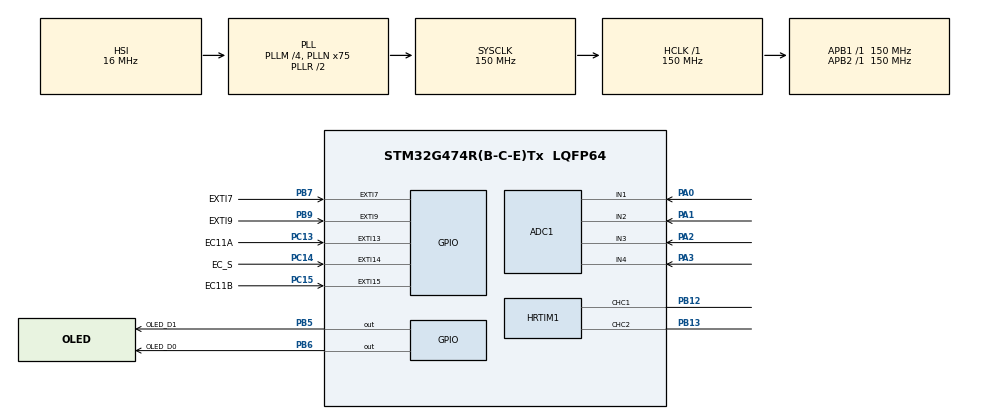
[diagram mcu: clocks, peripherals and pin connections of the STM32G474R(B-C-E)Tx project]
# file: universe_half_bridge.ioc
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ADC1.Channel-0\#ChannelRegularConversion=ADC_CHANNEL_1
ADC1.Channel-1\#ChannelRegularConversion=ADC_CHANNEL_2
ADC1.Channel-2\#ChannelRegularConversion=ADC_CHANNEL_3
ADC1.Channel-3\#ChannelRegularConversion=ADC_CHANNEL_4
ADC1.ContinuousConvMode=ENABLE
ADC1.DMAContinuousRequests=ENABLE
ADC1.NbrOfConversion=4
ADC1.NbrOfConversionFlag=1
ADC1.OffsetNumber-0\#ChannelRegularConversion=ADC_OFFSET_NONE
ADC1.OffsetNumber-1\#ChannelRegularConversion=ADC_OFFSET_NONE
ADC1.OffsetNumber-2\#ChannelRegularConversion=ADC_OFFSET_NONE
ADC1.OffsetNumber-3\#ChannelRegularConversion=ADC_OFFSET_NONE
ADC1.Rank-0\#ChannelRegularConversion=1
ADC1.Rank-1\#ChannelRegularConversion=2
ADC1.Rank-2\#ChannelRegularConversion=3
ADC1.Rank-3\#ChannelRegularConversion=4
ADC1.SamplingTime-0\#ChannelRegularConversion=ADC_SAMPLETIME_12CYCLES_5
ADC1.SamplingTime-1\#ChannelRegularConversion=ADC_SAMPLETIME_12CYCLES_5
ADC1.SamplingTime-2\#ChannelRegularConversion=ADC_SAMPLETIME_12CYCLES_5
ADC1.SamplingTime-3\#ChannelRegularConversion=ADC_SAMPLETIME_12CYCLES_5
ADC1.master=1
Dma.ADC1.0.Direction=DMA_PERIPH_TO_MEMORY
Dma.ADC1.0.EventEnable=DISABLE
Dma.ADC1.0.Instance=DMA1_Channel1
Dma.ADC1.0.MemDataAlignment=DMA_MDATAALIGN_HALFWORD
Dma.ADC1.0.MemInc=DMA_MINC_ENABLE
Dma.ADC1.0.Mode=DMA_CIRCULAR
Dma.ADC1.0.PeriphDataAlignment=DMA_PDATAALIGN_HALFWORD
Dma.ADC1.0.PeriphInc=DMA_PINC_DISABLE
Dma.ADC1.0.Polarity=HAL_DMAMUX_REQ_GEN_RISING
Dma.ADC1.0.Priority=DMA_PRIORITY_LOW
Dma.ADC1.0.RequestNumber=1
Dma.ADC1.0.SignalID=NONE
Dma.ADC1.0.SyncEnable=DISABLE
Dma.ADC1.0.SyncPolarity=HAL_DMAMUX_SYNC_NO_EVENT
Dma.ADC1.0.SyncRequestNumber=1
Dma.ADC1.0.SyncSignalID=NONE
Dma.Request0=ADC1
HRTIM1.CompareUnit1-Output_TC1TC2=HRTIM_COMPAREUNIT_1
HRTIM1.CompareValue1-Output_TC1TC2=0
HRTIM1.DeadTimeInsertion-Output_TC1TC2=HRTIM_TIMDEADTIMEINSERTION_ENABLED
HRTIM1.Deadtimeconfig-Output_TC1TC2=HRTIM_TIMERINDEX_TIMER_C
HRTIM1.FallingLock-Output_TC1TC2=HRTIM_TIMDEADTIME_FALLINGLOCK_READONLY
HRTIM1.FallingSignLock-Output_TC1TC2=HRTIM_TIMDEADTIME_FALLINGSIGNLOCK_READONLY
HRTIM1.FallingValue-Output_TC1TC2=142
HRTIM1.GreaterCMP1_TC=HRTIM_TIMERGTCMP1_EQUAL
HRTIM1.NumberResetSource1-Output_TC1TC2=1
HRTIM1.NumberSetSource1-Output_TC1TC2=1
HRTIM1.NumberSetSource2_TC=0
HRTIM1.Periode_TC=60000
HRTIM1.Polarity1-Output_TC1TC2=HRTIM_OUTPUTPOLARITY_HIGH
HRTIM1.Polarity2-Output_TC1TC2=HRTIM_OUTPUTPOLARITY_HIGH
HRTIM1.PreloadEnable-Output_TC1TC2=HRTIM_PRELOAD_ENABLED
HRTIM1.PrescalerRatio_TC=HRTIM_PRESCALERRATIO_MUL16
HRTIM1.RepetitionUpdate-Output_TC1TC2=HRTIM_UPDATEONREPETITION_ENABLED
HRTIM1.ResetOutput1_Source1-Output_TC1TC2=HRTIM_OUTPUTRESET_TIMCMP1
HRTIM1.RisingLock-Output_TC1TC2=HRTIM_TIMDEADTIME_RISINGLOCK_READONLY
HRTIM1.RisingSignLock-Output_TC1TC2=HRTIM_TIMDEADTIME_RISINGSIGNLOCK_READONLY
HRTIM1.RisingValue-Output_TC1TC2=142
HRTIM1.SetOutput1_Source1-Output_TC1TC2=HRTIM_OUTPUTSET_TIMPER
Mcu.Family=STM32G4
Mcu.Name=STM32G474R(B-C-E)Tx
Mcu.Package=LQFP64
NVIC.ADC1_2_IRQn=true\:6\:0\:true\:false\:true\:true\:true\:true
NVIC.DMA1_Channel1_IRQn=true\:5\:0\:true\:false\:true\:false\:true\:true
NVIC.EXTI15_10_IRQn=true\:7\:0\:true\:false\:true\:true\:true\:true
NVIC.EXTI9_5_IRQn=true\:0\:0\:false\:false\:true\:true\:true\:true
NVIC.HRTIM1_TIMC_IRQn=true\:0\:0\:false\:false\:true\:true\:true\:true
NVIC.PriorityGroup=NVIC_PRIORITYGROUP_4
PA0.Mode=IN1-Single-Ended
PA0.Signal=ADC1_IN1
PA1.Mode=IN2-Single-Ended
PA1.Signal=ADC1_IN2
PA13.Mode=Serial_Wire
PA13.Signal=SYS_JTMS-SWDIO
PA14.Mode=Serial_Wire
PA14.Signal=SYS_JTCK-SWCLK
PA2.Mode=IN3-Single-Ended
PA2.Signal=ADC1_IN3
PA3.Mode=IN4-Single-Ended
PA3.Signal=ADC1_IN4
PA8.Signal=HRTIM1_CHA1
PB12.Mode=Output_TC1TC2
PB12.Signal=HRTIM1_CHC1
PB13.Mode=Output_TC1TC2
PB13.Signal=HRTIM1_CHC2
PB5.GPIO_Label=OLED_D1
PB5.GPIO_Speed=GPIO_SPEED_FREQ_MEDIUM
PB5.Signal=GPIO_Output
PB6.GPIO_Label=OLED_D0
PB6.GPIO_Speed=GPIO_SPEED_FREQ_MEDIUM
PB6.Signal=GPIO_Output
PB7.GPIO_Label=EXTI7
PB7.GPIO_ModeDefaultEXTI=GPIO_MODE_IT_FALLING
PB7.GPIO_PuPd=GPIO_PULLUP
PB7.Signal=GPXTI7
PB9.GPIO_Label=EXTI9
PB9.GPIO_ModeDefaultEXTI=GPIO_MODE_IT_FALLING
PB9.GPIO_PuPd=GPIO_PULLUP
PB9.Signal=GPXTI9
PC13.GPIO_Label=EC11A
PC13.GPIO_ModeDefaultEXTI=GPIO_MODE_IT_FALLING
PC13.Signal=GPXTI13
PC14-OSC32_IN.GPIO_Label=EC_S
PC14-OSC32_IN.GPIO_ModeDefaultEXTI=GPIO_MODE_IT_FALLING
PC14-OSC32_IN.GPIO_PuPd=GPIO_PULLUP
PC14-OSC32_IN.Signal=GPXTI14
PC15-OSC32_OUT.GPIO_Label=EC11B
PC15-OSC32_OUT.GPIO_ModeDefaultEXTI=GPIO_MODE_IT_FALLING
PC15-OSC32_OUT.Signal=GPXTI15
PF0-OSC_IN.Mode=HSE-External-Oscillator
PF0-OSC_IN.Signal=RCC_OSC_IN
PF1-OSC_OUT.Mode=HSE-External-Oscillator
PF1-OSC_OUT.Signal=RCC_OSC_OUT
ProjectManager.HeapSize=0x200
ProjectManager.StackSize=0x400
ProjectManager.TargetToolchain=CMake
RCC.ADC12Freq_Value=150000000
RCC.ADC345Freq_Value=150000000
RCC.AHBFreq_Value=150000000
RCC.APB1Freq_Value=150000000
RCC.APB1TimFreq_Value=150000000
RCC.APB2Freq_Value=150000000
RCC.APB2TimFreq_Value=150000000
RCC.CortexFreq_Value=150000000
RCC.EXTERNAL_CLOCK_VALUE=12288000
RCC.HCLKFreq_Value=150000000
RCC.HSE_VALUE=8000000
RCC.HSI48_VALUE=48000000
RCC.HSI_VALUE=16000000
RCC.LSE_VALUE=32768
RCC.PLLM=RCC_PLLM_DIV4
RCC.PLLN=75
RCC.SYSCLKFreq_VALUE=150000000
RCC.SYSCLKSource=RCC_SYSCLKSOURCE_PLLCLK
RCC.USBFreq_Value=150000000
RCC.VCOOutputFreq_Value=300000000
VP_HRTIM1_VS_hrtimMasterTimerNoOutput.Mode=MasterTimer
VP_SYS_VS_DBSignals.Mode=DisableDeadBatterySignals
board=custom

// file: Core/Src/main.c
/* USER CODE BEGIN Header */
/**
  ******************************************************************************
  * @file           : main.c
  * @brief          : Main program body
  ******************************************************************************
  * @attention
  *
  * Copyright (c) 2026 STMicroelectronics.
  * All rights reserved.
  *
  * This software is licensed under terms that can be found in the LICENSE file
  * in the root directory of this software component.
  * If no LICENSE file comes with this software, it is provided AS-IS.
  *
  ******************************************************************************
  */
/* USER CODE END Header */
#include "main.h"
#include "adc.h"
#include "dma.h"
#include "hrtim.h"
#include "gpio.h"

/* USER CODE BEGIN Includes */
#include "arm_math.h"
#include "OLED.h"
#include "MY_OLED.h"
/* USER CODE END Includes */

/* USER CODE BEGIN PV */
#define inner_upper_limit                           59400.0f
#define inner_lower_limit                           600.0f
#define BUCK_CC_upper_limit                         18.0f
#define BUCK_CC_lower_limit                         12.8f
#define BUCK_CV_upper_limit                         2.1f
#define BUCK_CV_lower_limit                         0.0f
#define BOOST_CV_upper_limit                        1.2f
#define BOOST_CV_lower_limit                        (-1.0f)
#define software_step_size                          600.0f
#define software_start_digital_setpoint             30000.0f
#define phy_calc_conv_voltage                       1.0/16.0f
#define phy_calc_conv_current                       1.0/16.0f

enum {
  BOOST_CV=0,
  BUCK_CC=1,
  BUCK_CV=2,
  IDLE=3,
}control_mode=BUCK_CV;

enum EC_DeBug now_EC_DeBug=_phy_setpoint;

float32_t phy_setpoint=15.0f;
float32_t calc_setpoint=0;
float32_t calc_measurement[4]={0.0f,0.0f,0.0f,0.0f};
float32_t phy_V_low,phy_I_low,phy_V_high,phy_I_high;
float32_t pid_memory[3];
float32_t debug_value[2]={0.0f,0.0f};

HRTIM_CompareCfgTypeDef ACMP1_T={0};

uint16_t ADC_value[64];//4个通道，16个数据取平均滤波
//const uint8_t buff_size=16;

float32_t outer_upper_limit=BUCK_CV_upper_limit;
float32_t outer_lower_limit=BUCK_CV_lower_limit;

//const float32_t conv_gain=1.0;
//const float32_t phy_calc_conv=conv_gain/(float32_t)buff_size;
float32_t phy_calc_conv=phy_calc_conv_voltage;
//const float32_t Ts=5e-5f;

arm_pid_instance_f32 pid_outer,pid_inner;

/* USER CODE END PV */

void SystemClock_Config(void);

int main(void)
{

  /* MCU Configuration--------------------------------------------------------*/

  /* Reset of all peripherals, Initializes the Flash interface and the Systick. */
  HAL_Init();

  /* Configure the system clock */
  SystemClock_Config();

  /* Initialize all configured peripherals */
  MX_GPIO_Init();
  MX_DMA_Init();
  MX_ADC1_Init();
  MX_HRTIM1_Init();
  /* USER CODE BEGIN 2 */
  //HAL_Delay(200);
  OLED_Init();

  HAL_ADCEx_Calibration_Start(&hadc1,ADC_SINGLE_ENDED);
  HAL_ADC_Start_DMA(&hadc1,(uint32_t*)ADC_value,sizeof(ADC_value)/sizeof(uint16_t));

  switch (control_mode) {
    case BUCK_CC:
      BUCK_CC_init(&pid_outer,&pid_inner);
      break;
    case BUCK_CV:
      BUCK_CV_init(&pid_outer,&pid_inner);
      break;
    case BOOST_CV:
      BOOST_CV_init(&pid_outer,&pid_inner);
      break;
    default:
      break;
  }

  HAL_HRTIM_WaveformCountStart(&hhrtim1, HRTIM_TIMERID_TIMER_C);//开启定时器

  software_start();//软件软启动

  //__HAL_HRTIM_TIMER_ENABLE_IT(&hhrtim1,HRTIM_TIMERINDEX_TIMER_C,HRTIM_TIM_IT_UPD);//开启更新中断,开启PID

  DeBug_interface_head();
  /* USER CODE END 2 */

  /* Infinite loop */
  /* USER CODE BEGIN WHILE */
  while (1)
  {
    switch (control_mode) {
      case BUCK_CC:
        phy_V_low=calc_measurement[2]*phy_calc_conv_voltage;
        phy_I_low=calc_measurement[3]*phy_calc_conv_current;
        BUCK_CC_interface_main();
        break;
      case BUCK_CV:
        phy_V_low=calc_measurement[2]*phy_calc_conv_voltage;
        phy_I_low=calc_measurement[3]*phy_calc_conv_current;
        BUCK_CV_interface_main();
        break;
      case BOOST_CV:
        phy_V_high=calc_measurement[0]*phy_calc_conv_voltage;
        phy_I_high=calc_measurement[1]*phy_calc_conv_current;
        BOOST_CV_interface_main();
        break;
      default:
        break;
    }
    DeBug_interface_main();

    /* USER CODE END WHILE */

  }
}

void SystemClock_Config(void)
{
  RCC_OscInitTypeDef RCC_OscInitStruct = {0};
  RCC_ClkInitTypeDef RCC_ClkInitStruct = {0};

  /** Configure the main internal regulator output voltage
  */
  HAL_PWREx_ControlVoltageScaling(PWR_REGULATOR_VOLTAGE_SCALE1);

  /** Initializes the RCC Oscillators according to the specified parameters
  * in the RCC_OscInitTypeDef structure.
  */
  RCC_OscInitStruct.OscillatorType = RCC_OSCILLATORTYPE_HSI;
  RCC_OscInitStruct.HSIState = RCC_HSI_ON;
  RCC_OscInitStruct.HSICalibrationValue = RCC_HSICALIBRATION_DEFAULT;
  RCC_OscInitStruct.PLL.PLLState = RCC_PLL_ON;
  RCC_OscInitStruct.PLL.PLLSource = RCC_PLLSOURCE_HSI;
  RCC_OscInitStruct.PLL.PLLM = RCC_PLLM_DIV4;
  RCC_OscInitStruct.PLL.PLLN = 75;
  RCC_OscInitStruct.PLL.PLLP = RCC_PLLP_DIV2;
  RCC_OscInitStruct.PLL.PLLQ = RCC_PLLQ_DIV2;
  RCC_OscInitStruct.PLL.PLLR = RCC_PLLR_DIV2;
  if (HAL_RCC_OscConfig(&RCC_OscInitStruct) != HAL_OK)
  {
    Error_Handler();
  }

  /** Initializes the CPU, AHB and APB buses clocks
  */
  RCC_ClkInitStruct.ClockType = RCC_CLOCKTYPE_HCLK|RCC_CLOCKTYPE_SYSCLK
                              |RCC_CLOCKTYPE_PCLK1|RCC_CLOCKTYPE_PCLK2;
  RCC_ClkInitStruct.SYSCLKSource = RCC_SYSCLKSOURCE_PLLCLK;
  RCC_ClkInitStruct.AHBCLKDivider = RCC_SYSCLK_DIV1;
  RCC_ClkInitStruct.APB1CLKDivider = RCC_HCLK_DIV1;
  RCC_ClkInitStruct.APB2CLKDivider = RCC_HCLK_DIV1;

  if (HAL_RCC_ClockConfig(&RCC_ClkInitStruct, FLASH_LATENCY_4) != HAL_OK)
  {
    Error_Handler();
  }
}

/* USER CODE BEGIN 4 */
void BUCK_CC_init(arm_pid_instance_f32 *pid_outer,arm_pid_instance_f32 *pid_inner){
  control_mode=BUCK_CC;
  phy_setpoint=0.0f;
  calc_setpoint=0;
  phy_calc_conv=phy_calc_conv_current;

  pid_outer->Kp=0.0f;
  pid_outer->Ki=0.0f;
  pid_outer->Kd=0.0f;
  pid_outer->state[0]=0.0f;
  pid_outer->state[1]=0.0f;
  pid_outer->state[2]=0.0f;
  //pid_outer->A0=pid_outer->Kp+pid_outer->Ki*Ts+pid_outer->Kd/Ts;
  //pid_outer->A1=-pid_outer->Kp-2.0f*pid_outer->Kd/Ts;
  //pid_outer->A2=pid_outer->Kd/Ts;

  pid_inner->Kp=0.0f;
  pid_inner->Ki=0.0f;
  pid_inner->Kd=0.0f;
  pid_inner->state[0]=0.0f;
  pid_inner->state[1]=0.0f;
  pid_inner->state[2]=0.0f;
  //pid_inner->A0=pid_inner->Kp+pid_inner->Ki*Ts+pid_inner->Kd/Ts;
  //pid_inner->A1=-pid_inner->Kp-2.0f*pid_inner->Kd/Ts;
  //pid_inner->A2=pid_inner->Kd/Ts;

  outer_upper_limit=BUCK_CC_upper_limit;
  outer_lower_limit=BUCK_CC_lower_limit;

  arm_pid_init_f32(pid_outer,0);
  arm_pid_init_f32(pid_inner,0);

  BUCK_CC_interface_head();
}

void BUCK_CV_init(arm_pid_instance_f32 *pid_outer,arm_pid_instance_f32 *pid_inner){
  control_mode=BUCK_CV;
  phy_setpoint=0.0f;
  calc_setpoint=0;
  phy_calc_conv=phy_calc_conv_voltage;

  pid_outer->Kp=0.0f;
  pid_outer->Ki=0.0f;
  pid_outer->Kd=0.0f;
  pid_outer->state[0]=0.0f;
  pid_outer->state[1]=0.0f;
  pid_outer->state[2]=0.0f;
  //pid_outer->A0=pid_outer->Kp+pid_outer->Ki*Ts+pid_outer->Kd/Ts;
  //pid_outer->A1=-pid_outer->Kp-2.0f*pid_outer->Kd/Ts;
  //pid_outer->A2=pid_outer->Kd/Ts;

  pid_inner->Kp=0.0f;
  pid_inner->Ki=0.0f;
  pid_inner->Kd=0.0f;
  pid_inner->state[0]=0.0f;
  pid_inner->state[1]=0.0f;
  pid_inner->state[2]=0.0f;
  //pid_inner->A0=pid_inner->Kp+pid_inner->Ki*Ts+pid_inner->Kd/Ts;
  //pid_inner->A1=-pid_inner->Kp-2.0f*pid_inner->Kd/Ts;
  //pid_inner->A2=pid_inner->Kd/Ts;

  outer_upper_limit=BUCK_CV_upper_limit;
  outer_lower_limit=BUCK_CV_lower_limit;

  arm_pid_init_f32(pid_outer,0);
  arm_pid_init_f32(pid_inner,0);

  BUCK_CV_interface_head();
}

void BOOST_CV_init(arm_pid_instance_f32 *pid_outer,arm_pid_instance_f32 *pid_inner){
  control_mode=BOOST_CV;
  phy_setpoint=0.0f;
  calc_setpoint=0;
  phy_calc_conv=phy_calc_conv_voltage;

  pid_outer->Kp=0.0f;
  pid_outer->Ki=0.0f;
  pid_outer->Kd=0.0f;
  pid_outer->state[0]=0.0f;
  pid_outer->state[1]=0.0f;
  pid_outer->state[2]=0.0f;
  //pid_outer->A0=pid_outer->Kp+pid_outer->Ki*Ts+pid_outer->Kd/Ts;
  //pid_outer->A1=-pid_outer->Kp-2.0f*pid_outer->Kd/Ts;
  //pid_outer->A2=pid_outer->Kd/Ts;

  pid_inner->Kp=0.0f;
  pid_inner->Ki=0.0f;
  pid_inner->Kd=0.0f;
  pid_inner->state[0]=0.0f;
  pid_inner->state[1]=0.0f;
  pid_inner->state[2]=0.0f;
  //pid_inner->A0=pid_inner->Kp+pid_inner->Ki*Ts+pid_inner->Kd/Ts;
  //pid_inner->A1=-pid_inner->Kp-2.0f*pid_inner->Kd/Ts;
  //pid_inner->A2=pid_inner->Kd/Ts;

  outer_upper_limit=BOOST_CV_upper_limit;
  outer_lower_limit=BOOST_CV_lower_limit;

  arm_pid_init_f32(pid_outer,0);
  arm_pid_init_f32(pid_inner,0);

  BOOST_CV_interface_head();
}

void software_start(void) {
  HAL_HRTIM_WaveformOutputStart(&hhrtim1, HRTIM_OUTPUT_TC1|HRTIM_OUTPUT_TC2);//开启通道输出

  for (int i=0;i<=software_start_digital_setpoint;i+=software_step_size)
  {
    ACMP1_T.CompareValue=i;
    HAL_HRTIM_WaveformCompareConfig(&hhrtim1, HRTIM_TIMERINDEX_TIMER_C, HRTIM_COMPAREUNIT_1, &ACMP1_T);
    HAL_Delay(2);
  }
}

uint32_t PID_Compute(arm_pid_instance_f32 *pid_outer,arm_pid_instance_f32 *pid_inner,const float32_t error_outer,
  float32_t inner_measurement){
  arm_copy_f32(pid_outer->state,pid_memory,3);
  float32_t error_inner=0;
  float32_t output = arm_pid_f32(pid_outer, error_outer);
  debug_value[0]=output;

  if (output > outer_upper_limit)
  {
    arm_copy_f32(pid_memory,pid_outer->state,3);
    error_inner=outer_upper_limit-inner_measurement;
  }
  if (output < outer_lower_limit)
  {
    arm_copy_f32(pid_memory,pid_outer->state,3);
    error_inner=outer_lower_limit-inner_measurement;
  }
  error_inner=output-inner_measurement;
  arm_copy_f32(pid_inner->state,pid_memory,3);
  output = arm_pid_f32(pid_inner, error_inner);
  debug_value[1]=output;

  if (output > inner_upper_limit)
  {
    arm_copy_f32(pid_memory,pid_inner->state,3);
    return inner_upper_limit;
  }
  if (output < inner_lower_limit)
  {
    arm_copy_f32(pid_memory,pid_inner->state,3);
    return inner_lower_limit;
  }
  return output;
}

void HAL_HRTIM_RegistersUpdateCallback(HRTIM_HandleTypeDef *hhrtim,uint32_t TimerIdx) {
  static uint8_t count = 0;
  static uint32_t out=0;
  if (TimerIdx == HRTIM_TIMERINDEX_TIMER_C)
    {
      count++;
      if (count%2==0)
      {
        if (control_mode)
        {
          calc_measurement[0]=ADC_value[0]+ADC_value[4]+ADC_value[8]+ADC_value[12]+ADC_value[16]
          +ADC_value[20]+ADC_value[24]+ADC_value[28]+ADC_value[32]+ADC_value[36]+ADC_value[40]
          +ADC_value[44]+ADC_value[48]+ADC_value[52]+ADC_value[56]+ADC_value[60];
          calc_measurement[1]=ADC_value[1]+ADC_value[5]+ADC_value[9]+ADC_value[13]+ADC_value[17]
          +ADC_value[21]+ADC_value[25]+ADC_value[29]+ADC_value[33]+ADC_value[37]+ADC_value[41]
          +ADC_value[45]+ADC_value[49]+ADC_value[53]+ADC_value[57]+ADC_value[61];
        }
        else {
          calc_measurement[2]=ADC_value[2]+ADC_value[6]+ADC_value[10]+ADC_value[14]+ADC_value[18]
          +ADC_value[22]+ADC_value[26]+ADC_value[30]+ADC_value[34]+ADC_value[38]+ADC_value[42]
          +ADC_value[46]+ADC_value[50]+ADC_value[54]+ADC_value[58]+ADC_value[62];
          calc_measurement[3]=ADC_value[3]+ADC_value[7]+ADC_value[11]+ADC_value[15]+ADC_value[19]
          +ADC_value[23]+ADC_value[27]+ADC_value[31]+ADC_value[35]+ADC_value[39]+ADC_value[43]
          +ADC_value[47]+ADC_value[51]+ADC_value[55]+ADC_value[59]+ADC_value[63];
        }
        switch (control_mode) {
          case BOOST_CV:
            out=PID_Compute(&pid_outer,&pid_inner,calc_setpoint-calc_measurement[2],
              calc_measurement[3]);
            ACMP1_T.CompareValue=out;
            HAL_HRTIM_WaveformCompareConfig(&hhrtim1, HRTIM_TIMERINDEX_TIMER_C, HRTIM_COMPAREUNIT_1, &ACMP1_T);
            break;
          case BUCK_CC:
            out=PID_Compute(&pid_outer,&pid_inner,calc_setpoint-calc_measurement[1],
              calc_measurement[0]);
            ACMP1_T.CompareValue=out;
            HAL_HRTIM_WaveformCompareConfig(&hhrtim1, HRTIM_TIMERINDEX_TIMER_C, HRTIM_COMPAREUNIT_1, &ACMP1_T);
            break;
          case BUCK_CV:
            out=PID_Compute(&pid_outer,&pid_inner,calc_setpoint-calc_measurement[0],
              calc_measurement[1]);
            ACMP1_T.CompareValue=out;
            HAL_HRTIM_WaveformCompareConfig(&hhrtim1, HRTIM_TIMERINDEX_TIMER_C, HRTIM_COMPAREUNIT_1, &ACMP1_T);
            break;
          default:
            break;
        }
      }

    }

}
void HAL_GPIO_EXTI_Callback(uint16_t GPIO_Pin) {
  if (GPIO_Pin==EXTI7_Pin) {
    control_mode=(control_mode+1)%4;
    switch (control_mode) {
      case BOOST_CV:
        BOOST_CV_init(&pid_outer, &pid_inner);
        break;
      case BUCK_CC:
        BUCK_CC_init(&pid_outer, &pid_inner);
        break;
      case BUCK_CV:
        BUCK_CV_init(&pid_outer, &pid_inner);
        break;
      default:
        break;
    }
  }
  if (GPIO_Pin==EXTI9_Pin)
  {

  }
  if (GPIO_Pin==EC_S_Pin)
  {
    now_EC_DeBug=(now_EC_DeBug+1)%7;
  }
  if (GPIO_Pin==EC11A_Pin)
  {
    if (HAL_GPIO_ReadPin(EC11A_GPIO_Port,EC11A_Pin)==0) {
      if (HAL_GPIO_ReadPin(EC11B_GPIO_Port,EC11B_Pin)==0) {
        switch (now_EC_DeBug) {
          case _phy_setpoint:
            if (phy_setpoint<outer_upper_limit) {
              phy_setpoint+=0.01f;
              calc_setpoint=phy_setpoint/phy_calc_conv;
            }
            break;
          case _OKp:
            pid_outer.Kp+=0.1f;
            pid_outer.A0=pid_outer.Kp+pid_outer.Ki+pid_outer.Kd;
            pid_outer.A1=-pid_outer.Kp-2.0f*pid_outer.Kd;
            break;
          case _OKi:
            pid_outer.Ki+=0.1f;
            pid_outer.A0=pid_outer.Kp+pid_outer.Ki+pid_outer.Kd;
            break;
          case _OKd:
            pid_outer.Kd+=0.1f;
            pid_outer.A0=pid_outer.Kp+pid_outer.Ki+pid_outer.Kd;
            pid_outer.A1=-pid_outer.Kp-2.0f*pid_outer.Kd;
            pid_outer.A2=pid_outer.Kd;
            break;
          case _IKp:
            pid_inner.Kp+=0.1f;
            pid_inner.A0=pid_inner.Kp+pid_inner.Ki+pid_inner.Kd;
            pid_inner.A1=-pid_inner.Kp-2.0f*pid_inner.Kd;
            break;
          case _IKi:
            pid_inner.Ki+=0.1f;
            pid_inner.A0=pid_inner.Kp+pid_inner.Ki+pid_inner.Kd;
            break;
          case _IKd:
            pid_inner.Kd+=0.1f;
            pid_inner.A0=pid_inner.Kp+pid_inner.Ki+pid_inner.Kd;
            pid_inner.A1=-pid_inner.Kp-2.0f*pid_inner.Kd;
            pid_inner.A2=pid_inner.Kd;
            break;
          default:
            break;
        }
      }
    }
  }
  if (GPIO_Pin==EC11B_Pin)
  {
    if (HAL_GPIO_ReadPin(EC11B_GPIO_Port,EC11B_Pin)==0) {
      if (HAL_GPIO_ReadPin(EC11A_GPIO_Port,EC11A_Pin)==0) {
        switch (now_EC_DeBug) {
          case _phy_setpoint:
            if (phy_setpoint>outer_lower_limit) {
              phy_setpoint-=0.01f;
              calc_setpoint=phy_setpoint/phy_calc_conv;
            }
            break;
          case _OKp:
            pid_outer.Kp-=0.1f;
            pid_outer.A0=pid_outer.Kp+pid_outer.Ki+pid_outer.Kd;
            pid_outer.A1=-pid_outer.Kp-2.0f*pid_outer.Kd;
            break;
          case _OKi:
            pid_outer.Ki-=0.1f;
            pid_outer.A0=pid_outer.Kp+pid_outer.Ki+pid_outer.Kd;
            break;
          case _OKd:
            pid_outer.Kd-=0.1f;
            pid_outer.A0=pid_outer.Kp+pid_outer.Ki+pid_outer.Kd;
            pid_outer.A1=-pid_outer.Kp-2.0f*pid_outer.Kd;
            pid_outer.A2=pid_outer.Kd;
            break;
          case _IKp:
            pid_inner.Kp-=0.1f;
            pid_inner.A0=pid_inner.Kp+pid_inner.Ki+pid_inner.Kd;
            pid_inner.A1=-pid_inner.Kp-2.0f*pid_inner.Kd;
            break;
          case _IKi:
            pid_inner.Ki-=0.1f;
            pid_inner.A0=pid_inner.Kp+pid_inner.Ki+pid_inner.Kd;
            break;
          case _IKd:
            pid_inner.Kd-=0.1f;
            pid_inner.A0=pid_inner.Kp+pid_inner.Ki+pid_inner.Kd;
            pid_inner.A1=-pid_inner.Kp-2.0f*pid_inner.Kd;
            pid_inner.A2=pid_inner.Kd;
            break;
          default:
            break;
        }
      }
    }
  }
}
/* USER CODE END 4 */

void Error_Handler(void)
{
  __disable_irq();
  while (1)
  {
  }
}
